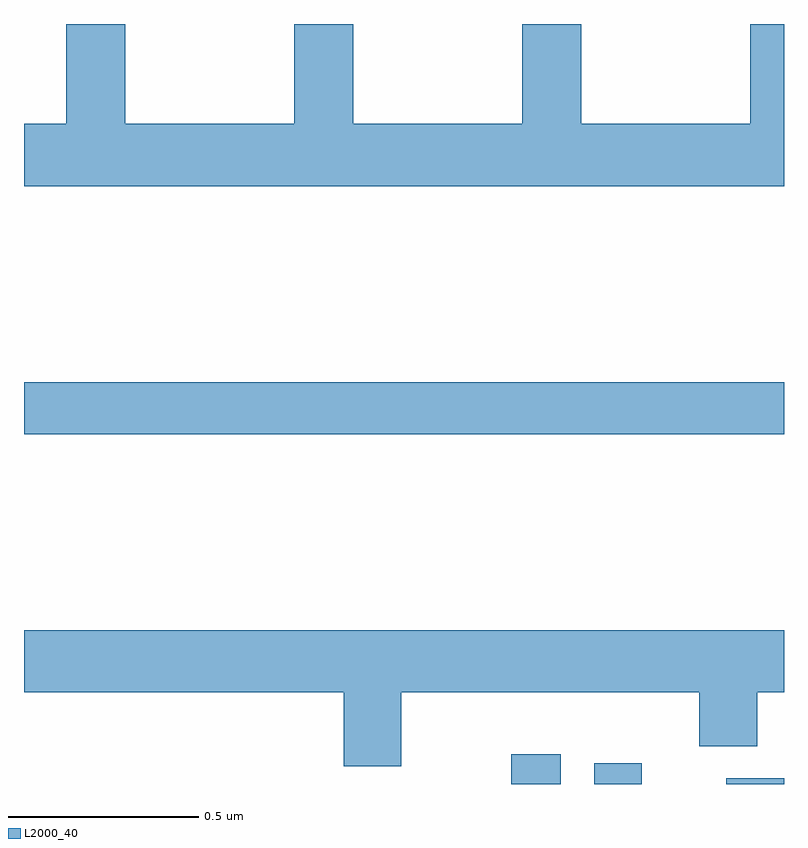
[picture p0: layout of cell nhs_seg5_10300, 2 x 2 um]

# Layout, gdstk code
import gdstk
lib = gdstk.Library(unit=1e-6, precision=1e-09)
def R(c, l, rs):  # rectangles x0, y0, x1, y1
    for r in rs: c.add(gdstk.rectangle(r[:2], r[2:], *l))
def P(c, l, *ps):  # polygons
    for p in ps: c.add(gdstk.Polygon(p, *l))
L2000_40 = (2000, 40)

nhs_seg5_10300 = lib.new_cell('nhs_seg5_10300')
R(nhs_seg5_10300, L2000_40, [(245.282,909.799,245.413,909.877), (245.501,909.799,245.626,909.853), (245.848,909.799,246,909.814), (244,910.72,246,910.856)])
P(nhs_seg5_10300, L2000_40, [(246,911.799),(245.911,911.799),(245.911,911.536),(245.466,911.536),(245.466,911.799),(245.311,911.799),(245.311,911.536),(244.866,911.536),(244.866,911.799),(244.711,911.799),(244.711,911.536),(244.266,911.536),(244.266,911.799),(244.111,911.799),(244.111,911.536),(244,911.536),(244,911.372),(246,911.372)],
  [(244.993,910.04),(245.777,910.04),(245.777,909.899),(245.929,909.899),(245.929,910.04),(246,910.04),(246,910.204),(244,910.204),(244,910.04),(244.841,910.04),(244.841,909.846),(244.993,909.846)])

lib.write_gds('nhs_seg5_10300.gds')
